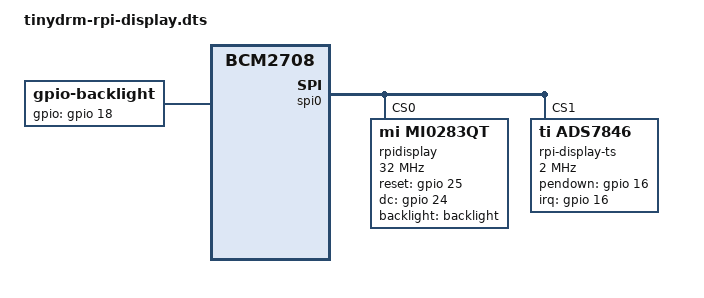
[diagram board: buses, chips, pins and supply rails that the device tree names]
/*
 * Device Tree overlay for ili9341 display, using luma.lcd wiring
 * --------------------------------------------------------------
 *
 *   This file was originally leveraged from the tinydrm project:
 *
 *       https://github.com/notro/tinydrm/tree/master/rpi-overlays
 *
 *   The sole change was to the GPIO pin numbering assignments made in
 *   fragment@2 below, such that wiring matches that used with
 *   luma.lcd in the kodi_panel.py script.  Having the wiring match is
 *   extremely convenient for switching back and forth, between
 *   luma.lcd and a framebuffer approach.
 *
 *   The file can be compiled into a .dtbo file via dtc:
 *
 *      dtc -@ -Hepapr -I dts -O dtb -o tinydrm-rpi-display.dtbo tinydrm-rpi-display.dts
 *
 *   The result can then be copied into the /boot/overlays directory and
 *   run-time loaded via:
 *
 *      sudo dtoverlay tinydrm-rpi-display
 *
 *   The result should be a successful load (inspect via dmesg) and
 *   the creation of a /dev/fb1 file.  The display will turn white
 *   briefly, clear itself, and then turn the backlight off.  The
 *   backlight can be turned on again via a command like
 *
 *      con2fbmap 1 1
 *
 *   (As of this writing, I don't know what the driver is really
 *   looking for to trigger turning the backlight back on.  The above
 *   command accomplishes it, though.)
 *
 *   If you just want to ensure that the display is alive, you can
 *   dump random data (static, effectively) into the framebuffer via
 *
 *      cat /dev/urandom > /dev/fb1
 *
 *   Note that none of the above -- dtoverlays and getting a tinydrm
 *   device driver running -- is necessary if one is content with
 *   luma.lcd!  
 *
 *   I have not yet experimented with the PWM backlight section below.
 *   It was commented out in the original tinydrm source.
 *
 */

/dts-v1/;
/plugin/;

/ {
	compatible = "brcm,bcm2708";

	fragment@0 {
		target = <&spi0>;
		__overlay__ {
			status = "okay";

			spidev@0{
				status = "disabled";
			};

			spidev@1{
				status = "disabled";
			};
		};
	};

	fragment@1 {
		target = <&gpio>;
		__overlay__ {
			rpi_display_pins: rpi_display_pins {
				brcm,pins = <18 23 24 25>;
				brcm,function = <1 1 1 0>; /* out out out in */
			};
		};
	};

	fragment@2 {
		target = <&spi0>;
		__overlay__ {
			/* needed to avoid dtc warning */
			#address-cells = <1>;
			#size-cells = <0>;

			rpidisplay: rpi-display@0{
				compatible = "mi,mi0283qt";
				reg = <0>;
				//pinctrl-names = "default";
				//pinctrl-0 = <&rpi_display_pins>;

				spi-max-frequency = <32000000>;
				rotation = <180>;
				reset-gpios = <&gpio 25 0>;
				dc-gpios = <&gpio 24 0>;
				backlight = <&backlight>;
			};

			rpi-display-ts@1 {
				compatible = "ti,ads7846";
				reg = <1>;

				spi-max-frequency = <2000000>;
				interrupts = <16 2>; /* high-to-low edge triggered */
				interrupt-parent = <&gpio>;
				pendown-gpio = <&gpio 16 0>;
				ti,x-plate-ohms = /bits/ 16 <60>;
				ti,pressure-max = /bits/ 16 <255>;
			};
		};
	};

	fragment@3 {
		target-path = "/soc";
		__overlay__ {
			backlight: backlight {
				compatible = "gpio-backlight";
				gpios = <&gpio 18 0>;
			};
		};
	};

/*

Alternative pwm backlight section

	fragment@3 {
		target = <&gpio>;
		__overlay__ {
			// This is necessary on Pi1,2,Z not Pi3
			pinctrl-0 = <&gpioout &alt0>; // Remove i2s_alt0 which claims gpio18
		};
	};

	fragment@4 {
		target = <&pwm>;
		__overlay__ {
			pinctrl-names = "default";
			pinctrl-0 = <&pwm0_gpio18>;
			status = "okay";
		};
	};

	fragment@5 {
		target-path = "/soc";
		__overlay__ {
			backlight: backlight {
				compatible = "pwm-backlight";
				pwms = <&pwm 0 5000000>;
				// These levels need calibration
				brightness-levels = <0 5 10 20 40 60 80 100>;
				default-brightness-level = <7>;
			};
		};
	};
*/

	__overrides__ {
		speed = <&rpidisplay>,"spi-max-frequency:0";
		rotation = <&rpidisplay>,"rotation:0";
		format = <&rpidisplay>,"format";
	};
};
